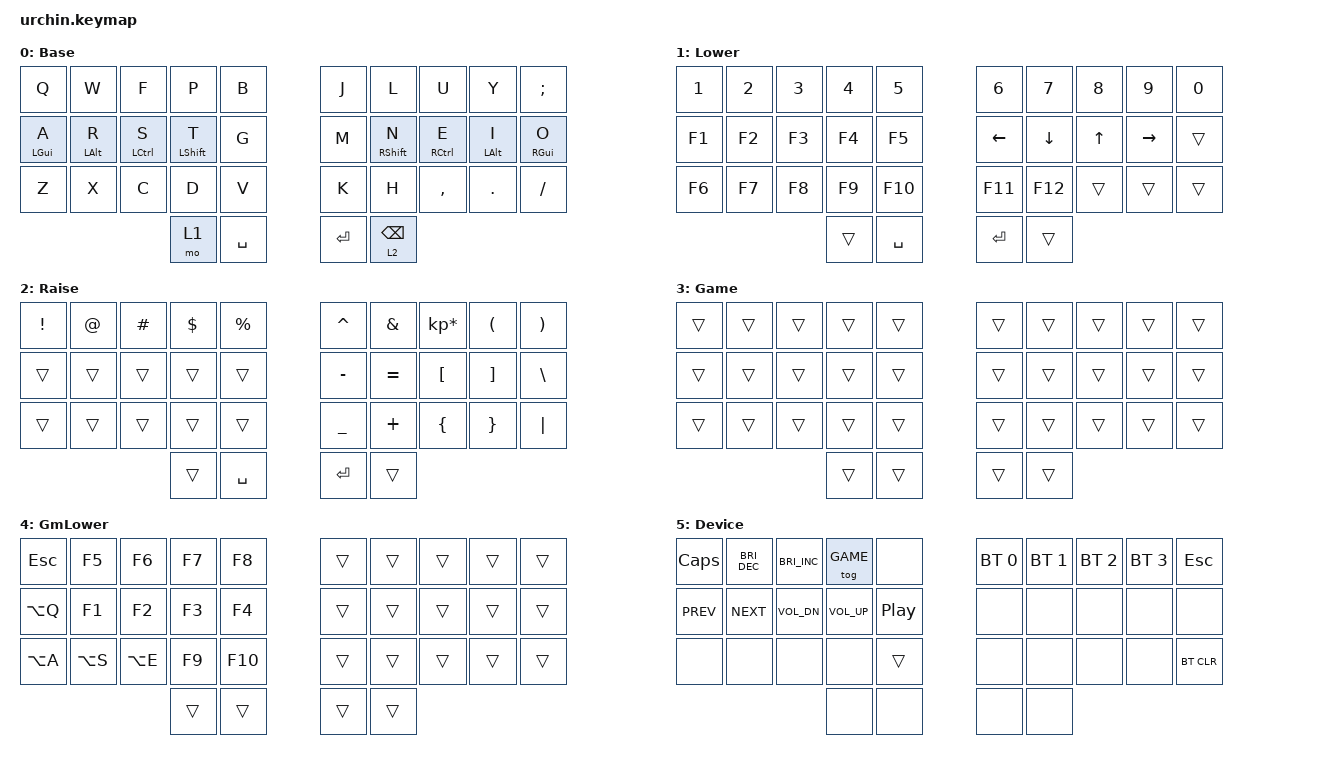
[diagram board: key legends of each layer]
// Direct 34-key adaptation of ../zmk-config-totem/config/totem.keymap.
// The Totem's two outer bottom-row keys and two outer thumb keys are omitted.

// Layer diagrams: "TAP/HOLD" = tap for the first, hold for the second,
// "~" = transparent (falls through to Base), blank = does nothing.
// Combos (press together): Q+W = TAB (not in Game Lower), U+Y = `, Y+; = DEL, ,+. = '
// Game mode: toggled from Device. While on, holding LOWER gives Game Lower instead of Lower.

#include <behaviors.dtsi>
#include <dt-bindings/zmk/bt.h>
#include <dt-bindings/zmk/keys.h>

#define BASE 0
#define LOWER 1
#define RAISE 2
#define GAME 3
#define GAME_LOWER 4
#define DEVICE 5

/ {
    combos {
        compatible = "zmk,combos";

        combo_sqt {
            timeout-ms = <50>;
            key-positions = <27 28>;
            bindings = <&kp SQT>;
        };

        combo_grave {
            timeout-ms = <50>;
            key-positions = <8 7>;
            bindings = <&kp GRAVE>;
        };

        combo_tab {
            timeout-ms = <50>;
            key-positions = <0 1>;
            bindings = <&kp TAB>;
            layers = <BASE LOWER RAISE GAME DEVICE>;
        };

        combo_delete {
            timeout-ms = <50>;
            key-positions = <8 9>;
            bindings = <&kp DELETE>;
        };
    };

    behaviors {
        HMR: HMR {
            compatible = "zmk,behavior-hold-tap";
            label = "HMR";
            bindings = <&kp>, <&kp>;

            #binding-cells = <2>;
            tapping-term-ms = <220>;
            quick-tap-ms = <125>;
            require-prior-idle-ms = <90>;
            flavor = "balanced";
            hold-trigger-on-release;
            hold-trigger-key-positions = <0 1 2 3 4 10 11 12 13 14 20 21 22 23 24 30 31>;
        };

        HML: HML {
            compatible = "zmk,behavior-hold-tap";
            label = "HML";
            bindings = <&kp>, <&kp>;

            #binding-cells = <2>;
            tapping-term-ms = <220>;
            quick-tap-ms = <125>;
            require-prior-idle-ms = <90>;
            flavor = "balanced";
            hold-trigger-on-release;
            hold-trigger-key-positions = <5 6 7 8 9 15 16 17 18 19 25 26 27 28 29 32 33>;
        };

        HMShiftR: HMShiftR {
            compatible = "zmk,behavior-hold-tap";
            label = "HMSR";
            bindings = <&kp>, <&kp>;

            #binding-cells = <2>;
            tapping-term-ms = <190>;
            quick-tap-ms = <100>;
            require-prior-idle-ms = <60>;
            flavor = "balanced";
            hold-trigger-on-release;
            hold-trigger-key-positions = <0 1 2 3 4 10 11 12 13 14 20 21 22 23 24 30 31>;
        };

        HMShiftL: HMShiftL {
            compatible = "zmk,behavior-hold-tap";
            label = "HMSL";
            bindings = <&kp>, <&kp>;

            #binding-cells = <2>;
            tapping-term-ms = <190>;
            quick-tap-ms = <100>;
            require-prior-idle-ms = <60>;
            flavor = "balanced";
            hold-trigger-on-release;
            hold-trigger-key-positions = <5 6 7 8 9 15 16 17 18 19 25 26 27 28 29 32 33>;
        };

        CustomLT: CustomLT {
            compatible = "zmk,behavior-hold-tap";
            label = "CUSTOMLT";
            bindings = <&mo>, <&kp>;

            #binding-cells = <2>;
            tapping-term-ms = <150>;
            flavor = "tap-preferred";
            quick-tap-ms = <75>;
            hold-while-undecided;
            hold-trigger-on-release;
        };
    };

    keymap {
        compatible = "zmk,keymap";

        // Base
        //
        // ╭───────┬───────┬───────┬───────┬───────╮   ╭───────┬───────┬───────┬───────┬───────╮
        // │   Q   │   W   │   F   │   P   │   B   │   │   J   │   L   │   U   │   Y   │   ;   │
        // ├───────┼───────┼───────┼───────┼───────┤   ├───────┼───────┼───────┼───────┼───────┤
        // │ A/GUI │ R/ALT │ S/CTL │ T/SFT │   G   │   │   M   │ N/SFT │ E/CTL │ I/ALT │ O/GUI │
        // ├───────┼───────┼───────┼───────┼───────┤   ├───────┼───────┼───────┼───────┼───────┤
        // │   Z   │   X   │   C   │   D   │   V   │   │   K   │   H   │   ,   │   .   │   /   │
        // ╰───────┴───────┴───────┴───────┴───────╯   ╰───────┴───────┴───────┴───────┴───────╯
        //               ╭────────────┬────────────╮   ╭────────────┬────────────╮
        //               │   LOWER    │   SPACE    │   │   ENTER    │ BSPC/RAISE │
        //               ╰────────────┴────────────╯   ╰────────────┴────────────╯
        default_layer {
            display-name = "Base";
            bindings = <
                &kp Q         &kp W         &kp F          &kp P               &kp B      &kp J  &kp L              &kp U         &kp Y       &kp SEMICOLON
                &HML LGUI A   &HML LALT R   &HML LCTRL S  &HMShiftL LSHFT T   &kp G      &kp M  &HMShiftR RSHFT N &HMR RCTRL E   &HMR LALT I &HMR RGUI O
                &kp Z         &kp X         &kp C          &kp D               &kp V      &kp K  &kp H              &kp COMMA     &kp DOT     &kp FSLH
                                               &mo 1        &kp SPACE                       &kp RET               &CustomLT 2 BSPC
            >;
        };

        // Lower (hold LOWER)
        //
        // ╭───────┬───────┬───────┬───────┬───────╮   ╭───────┬───────┬───────┬───────┬───────╮
        // │   1   │   2   │   3   │   4   │   5   │   │   6   │   7   │   8   │   9   │   0   │
        // ├───────┼───────┼───────┼───────┼───────┤   ├───────┼───────┼───────┼───────┼───────┤
        // │   F1  │   F2  │   F3  │   F4  │   F5  │   │  LEFT │  DOWN │   UP  │ RIGHT │   ~   │
        // ├───────┼───────┼───────┼───────┼───────┤   ├───────┼───────┼───────┼───────┼───────┤
        // │   F6  │   F7  │   F8  │   F9  │  F10  │   │  F11  │  F12  │   ~   │   ~   │   ~   │
        // ╰───────┴───────┴───────┴───────┴───────╯   ╰───────┴───────┴───────┴───────┴───────╯
        //               ╭────────────┬────────────╮   ╭────────────┬────────────╮
        //               │     ~      │   SPACE    │   │   ENTER    │     ~      │
        //               ╰────────────┴────────────╯   ╰────────────┴────────────╯
        lower_layer {
            display-name = "Lower";
            bindings = <
                &kp N1  &kp N2  &kp N3  &kp N4  &kp N5    &kp N6    &kp N7    &kp N8    &kp N9     &kp N0
                &kp F1  &kp F2  &kp F3  &kp F4  &kp F5    &kp LEFT  &kp DOWN  &kp UP    &kp RIGHT  &trans
                &kp F6  &kp F7  &kp F8  &kp F9  &kp F10   &kp F11   &kp F12   &trans    &trans     &trans
                                      &trans  &kp SPACE             &kp RET   &trans
            >;
        };

        // Raise (hold RAISE)
        //
        // ╭───────┬───────┬───────┬───────┬───────╮   ╭───────┬───────┬───────┬───────┬───────╮
        // │   !   │   @   │   #   │   $   │   %   │   │   ^   │   &   │   *   │   (   │   )   │
        // ├───────┼───────┼───────┼───────┼───────┤   ├───────┼───────┼───────┼───────┼───────┤
        // │   ~   │   ~   │   ~   │   ~   │   ~   │   │   -   │   =   │   [   │   ]   │   \   │
        // ├───────┼───────┼───────┼───────┼───────┤   ├───────┼───────┼───────┼───────┼───────┤
        // │   ~   │   ~   │   ~   │   ~   │   ~   │   │   _   │   +   │   {   │   }   │   |   │
        // ╰───────┴───────┴───────┴───────┴───────╯   ╰───────┴───────┴───────┴───────┴───────╯
        //               ╭────────────┬────────────╮   ╭────────────┬────────────╮
        //               │     ~      │   SPACE    │   │   ENTER    │     ~      │
        //               ╰────────────┴────────────╯   ╰────────────┴────────────╯
        raise_layer {
            display-name = "Raise";
            bindings = <
                &kp EXCL  &kp AT  &kp HASH  &kp DLLR  &kp PRCNT    &kp CARET  &kp AMPS   &kp KP_MULTIPLY  &kp LPAR  &kp RPAR
                &trans    &trans  &trans    &trans    &trans       &kp MINUS  &kp EQUAL  &kp LBKT         &kp RBKT  &kp BSLH
                &trans    &trans  &trans    &trans    &trans       &kp UNDER  &kp PLUS   &kp LBRC         &kp RBRC  &kp PIPE
                                  &trans    &kp SPACE               &kp RET    &trans
            >;
        };

        // Game (toggled from Device) - changes nothing by itself, only switches LOWER to Game Lower
        game_layer {
            display-name = "Game";
            bindings = <
                &trans  &trans  &trans  &trans  &trans    &trans  &trans  &trans  &trans  &trans
                &trans  &trans  &trans  &trans  &trans    &trans  &trans  &trans  &trans  &trans
                &trans  &trans  &trans  &trans  &trans    &trans  &trans  &trans  &trans  &trans
                                &trans  &trans                    &trans  &trans
            >;
        };

        // Game Lower (hold LOWER while Game mode is on)
        //
        // ╭───────┬───────┬───────┬───────┬───────╮   ╭───────┬───────┬───────┬───────┬───────╮
        // │  ESC  │   F5  │   F6  │   F7  │   F8  │   │   ~   │   ~   │   ~   │   ~   │   ~   │
        // ├───────┼───────┼───────┼───────┼───────┤   ├───────┼───────┼───────┼───────┼───────┤
        // │ ALT+Q │   F1  │   F2  │   F3  │   F4  │   │   ~   │   ~   │   ~   │   ~   │   ~   │
        // ├───────┼───────┼───────┼───────┼───────┤   ├───────┼───────┼───────┼───────┼───────┤
        // │ ALT+A │ ALT+S │ ALT+E │   F9  │  F10  │   │   ~   │   ~   │   ~   │   ~   │   ~   │
        // ╰───────┴───────┴───────┴───────┴───────╯   ╰───────┴───────┴───────┴───────┴───────╯
        //               ╭────────────┬────────────╮   ╭────────────┬────────────╮
        //               │     ~      │     ~      │   │     ~      │     ~      │
        //               ╰────────────┴────────────╯   ╰────────────┴────────────╯
        // "~" here falls through to Lower (right half keeps numbers, arrows, F11, F12).
        game_lower_layer {
            display-name = "GmLower";
            bindings = <
                &kp ESC     &kp F5      &kp F6      &kp F7  &kp F8     &trans  &trans  &trans  &trans  &trans
                &kp LA(Q)   &kp F1      &kp F2      &kp F3  &kp F4     &trans  &trans  &trans  &trans  &trans
                &kp LA(A)   &kp LA(S)   &kp LA(E)   &kp F9  &kp F10    &trans  &trans  &trans  &trans  &trans
                                        &trans      &trans             &trans  &trans
            >;
        };

        // Device (hold LOWER + RAISE)
        //
        // ╭───────┬───────┬───────┬───────┬───────╮   ╭───────┬───────┬───────┬───────┬───────╮
        // │  CAPS │  BRI- │  BRI+ │  GAME │       │   │  BT 0 │  BT 1 │  BT 2 │  BT 3 │  ESC  │
        // ├───────┼───────┼───────┼───────┼───────┤   ├───────┼───────┼───────┼───────┼───────┤
        // │  PREV │  NEXT │  VOL- │  VOL+ │  PLAY │   │       │       │       │       │       │
        // ├───────┼───────┼───────┼───────┼───────┤   ├───────┼───────┼───────┼───────┼───────┤
        // │       │       │       │       │   ~   │   │       │       │       │       │ BT CLR│
        // ╰───────┴───────┴───────┴───────┴───────╯   ╰───────┴───────┴───────┴───────┴───────╯
        //               ╭────────────┬────────────╮   ╭────────────┬────────────╮
        //               │            │            │   │            │            │
        //               ╰────────────┴────────────╯   ╰────────────┴────────────╯
        device {
            display-name = "Device";
            bindings = <
                &kp CAPSLOCK  &kp C_BRIGHTNESS_DEC  &kp C_BRIGHTNESS_INC  &tog GAME     &none       &bt BT_SEL 0    &bt BT_SEL 1    &bt BT_SEL 2  &bt BT_SEL 3     &kp ESC
                &kp C_PREV    &kp C_NEXT            &kp C_VOL_DN          &kp C_VOL_UP  &kp C_PP    &none  &none  &none  &none  &none
                &none         &none                 &none                 &none         &trans      &none  &none  &none  &none  &bt BT_CLR
                                                       &none                 &none                   &none           &none
            >;
        };

        extra_1 { status = "reserved"; };

        extra_2 { status = "reserved"; };

        extra_3 { status = "reserved"; };
    };

    conditional_layers {
        compatible = "zmk,conditional-layers";

        game_lower {
            if-layers = <LOWER GAME>;
            then-layer = <GAME_LOWER>;
        };

        device {
            if-layers = <LOWER RAISE>;
            then-layer = <DEVICE>;
        };
    };
};
